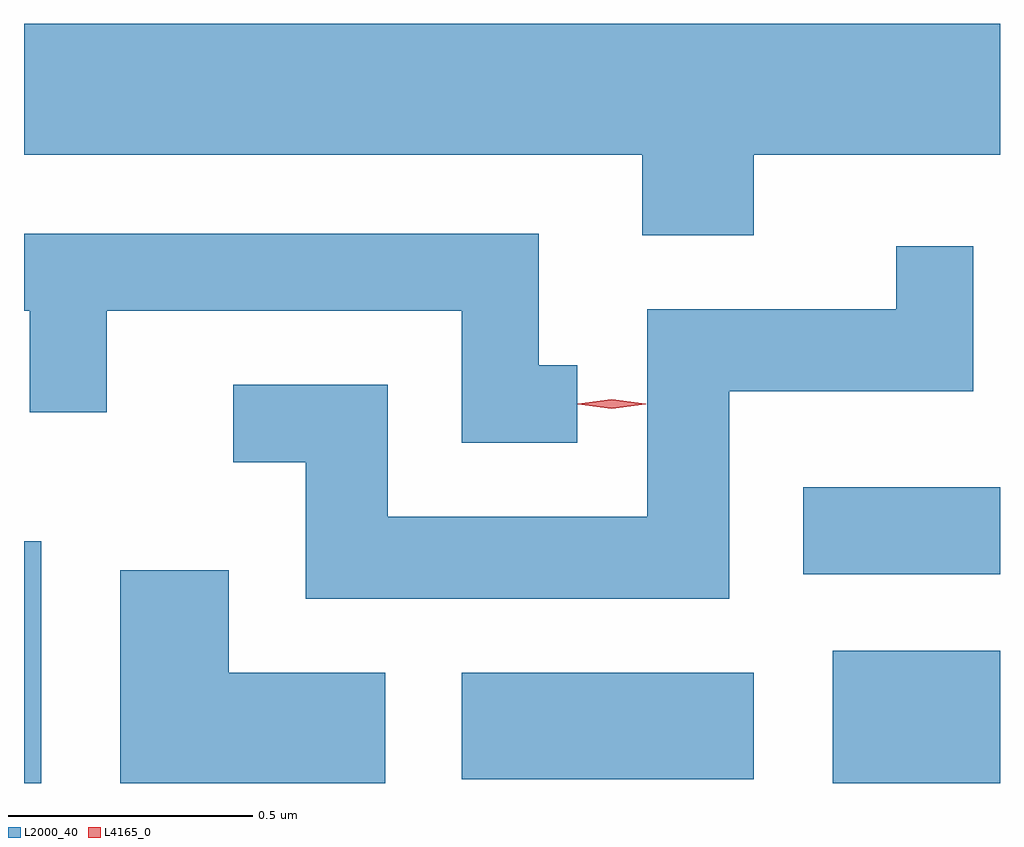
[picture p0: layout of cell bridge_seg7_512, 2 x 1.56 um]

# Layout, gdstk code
import gdstk
lib = gdstk.Library(unit=1e-6, precision=1e-09)
def R(c, l, rs):  # rectangles x0, y0, x1, y1
    for r in rs: c.add(gdstk.rectangle(r[:2], r[2:], *l))
def P(c, l, *ps):  # polygons
    for p in ps: c.add(gdstk.Polygon(p, *l))
L2000_40 = (2000, 40)
L4165_0 = (4165, 0)

bridge_seg7_512 = lib.new_cell('bridge_seg7_512')
R(bridge_seg7_512, L2000_40, [(1344.394,1730.788,1344.429,1731.284), (1346.051,1730.788,1346.394,1731.059), (1345.291,1730.796,1345.889,1731.014), (1345.991,1731.216,1346.394,1731.394)])
P(bridge_seg7_512, L2000_40, [(1345.889,1732.076),(1346.394,1732.076),(1346.394,1732.344),(1344.394,1732.344),(1344.394,1732.076),(1345.661,1732.076),(1345.661,1731.911),(1345.889,1731.911)],
  [(1345.528,1731.644),(1345.449,1731.644),(1345.449,1731.914),(1344.394,1731.914),(1344.394,1731.756),(1344.406,1731.756),(1344.406,1731.548),(1344.564,1731.548),(1344.564,1731.756),(1345.291,1731.756),(1345.291,1731.486),(1345.528,1731.486)],
  [(1345.839,1731.591),(1346.339,1731.591),(1346.339,1731.888),(1346.181,1731.888),(1346.181,1731.759),(1345.671,1731.759),(1345.671,1731.334),(1345.139,1731.334),(1345.139,1731.604),(1344.823,1731.604),(1344.823,1731.446),(1344.971,1731.446),(1344.971,1731.166),(1345.839,1731.166)],
  [(1345.134,1731.014),(1344.814,1731.014),(1344.814,1731.224),(1344.591,1731.224),(1344.591,1730.788),(1345.134,1730.788)])
P(bridge_seg7_512, L4165_0, [(1345.598,1731.555),(1345.529,1731.564),(1345.529,1731.565),(1345.529,1731.565),(1345.598,1731.575),(1345.668,1731.565),(1345.668,1731.564),(1345.668,1731.564)])

lib.write_gds('bridge_seg7_512.gds')
